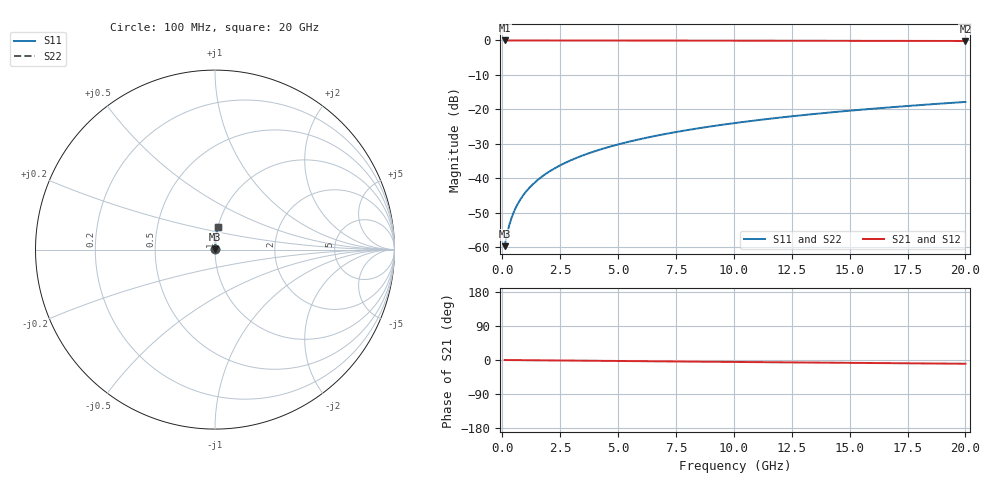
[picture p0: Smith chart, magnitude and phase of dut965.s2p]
! Touchstone file exported from HFSS 2024.1.0
!  File:  C:/UserFiles/LocalFiles/RDL_TSV_Batchsim/temp_RDL_top_965_1779938611.aedt
!  Generated:  11:26:03 AM May 28, 2026
!  Design:  RDL_top
!  Project:  temp_RDL_top_965_1779938611
!  Setup:  Setup1
!  Solution:  Sweep
! Variables:
!  dtsv = 10.80580581um
!  hbump = 3um
!  htsv = 67.21um
!  ldown = 100um
!  lrdl = 101.08um
!  p = 40
!  p1 = 44.07um
!  rhole = 1um
!  t = 450um
!  tdown = 3.915915916um
!  trdl = 3.79um
!  wdown = 15.38538539um
!  wrdl = 14.65um
# GHz S MA R 50.000000
! Terminal data exported
! Port[1] = Box2_T1
! Port[2] = Box2_T2
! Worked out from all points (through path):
!   200 points, 100 MHz to 20 GHz, reference 50 ohm
!   highest |S21| = -0.01 dB at 100 MHz (marker M1); lowest = -0.2 dB at 20 GHz (marker M2)
!   group delay of S21, straight-line fit = 1.37 ps
!   lowest |S11| = -59.6 dB at 100 MHz (marker M3), VSWR 1.00, Z = 50.1 + j0.0649 ohm
!   |S11| at or under -10 dB: start of sweep to end of sweep
!   |S22| runs from -59.6 to -17.8 dB; largest |S21 - S12| = 3.3e-15
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0.1  0.001044 38.3  0.9992 -0.1  0.9992 -0.1  0.001044 38.3
! Gamma 0 0 0 0
! Port Impedance 50 0 50 0
0.2  0.001536 56.9  0.9992 -0.1  0.9992 -0.1  0.001536 56.9
0.3  0.0021 65.8  0.9991 -0.2  0.9991 -0.2  0.0021 65.8
0.4  0.002686 70.8  0.9991 -0.2  0.9991 -0.2  0.002686 70.8
0.5  0.003278 74.1  0.9991 -0.3  0.9991 -0.3  0.003278 74.1
0.6  0.003875 76.4  0.9991 -0.3  0.9991 -0.3  0.003875 76.4
0.8  0.005077 79.4  0.999 -0.4  0.999 -0.4  0.005077 79.4
1.1  0.006894 82.0  0.9989 -0.6  0.9989 -0.6  0.006894 82.0
1.5  0.009336 83.9  0.9988 -0.8  0.9988 -0.8  0.009336 83.9
1.8  0.01118 84.8  0.9987 -1.0  0.9987 -1.0  0.01118 84.8
2.1  0.01302 85.5  0.9986 -1.1  0.9986 -1.1  0.01302 85.5
2.7  0.01673 86.3  0.9983 -1.4  0.9983 -1.4  0.01673 86.3
3.5  0.0217 86.9  0.9978 -1.9  0.9978 -1.9  0.0217 86.9
4.2  0.02608 87.1  0.9974 -2.2  0.9974 -2.2  0.02608 87.1
5  0.03112 87.3  0.9967 -2.6  0.9967 -2.6  0.03112 87.3
5.9  0.03683 87.3  0.996 -3.1  0.996 -3.1  0.03683 87.3
6.8  0.04257 87.2  0.9952 -3.6  0.9952 -3.6  0.04257 87.2
8.3  0.05223 86.9  0.9937 -4.3  0.9937 -4.3  0.05223 86.9
10.1  0.06391 86.3  0.992 -5.2  0.992 -5.2  0.06391 86.3
13.4  0.08548 85.0  0.9886 -6.8  0.9886 -6.8  0.08548 85.0
16.7  0.1071 83.4  0.9851 -8.3  0.9851 -8.3  0.107 83.4
20  0.1285 81.8  0.9815 -9.9  0.9815 -9.9  0.1285 81.8
